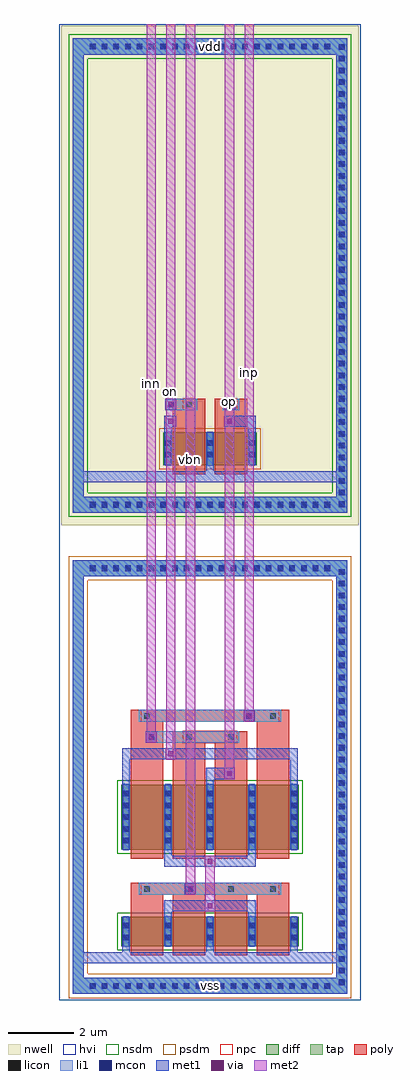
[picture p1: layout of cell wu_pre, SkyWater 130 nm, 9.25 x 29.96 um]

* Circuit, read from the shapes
.subckt wu_pre inn inp on op vbn vdd vss
XM1 n1 vbn vss vss sky130_fd_pr__nfet_g5v0d10v5 w=0.9 l=1 m=4
XM2 n1 inp on vss sky130_fd_pr__nfet_g5v0d10v5 w=2 l=1 m=2
XM3 op inn n1 vss sky130_fd_pr__nfet_g5v0d10v5 w=2 l=1 m=2
XM4 vdd on on vdd sky130_fd_pr__pfet_g5v0d10v5 w=1 l=1
XM5 op op vdd vdd sky130_fd_pr__pfet_g5v0d10v5 w=1 l=1
.ends

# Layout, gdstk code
import gdstk
lib = gdstk.Library(unit=1e-6, precision=1e-09)
def R(c, l, rs):  # rectangles x0, y0, x1, y1
    for r in rs: c.add(gdstk.rectangle(r[:2], r[2:], *l))
def A(c, l, x, y, w, h, nx, ny, dx, dy):  # array of equal rectangles
    R(c, l, [(x+i*dx, y+j*dy, x+i*dx+w, y+j*dy+h) for i in range(nx) for j in range(ny)])
nwell = (64, 20)
diff = (65, 20)
tap = (65, 44)
poly = (66, 20)
licon = (66, 44)
li1 = (67, 20)
mcon = (67, 44)
met1 = (68, 20)
via = (68, 44)
met2 = (69, 20)
hvi = (75, 20)
nsdm = (93, 44)
psdm = (94, 20)
npc = (95, 20)

wu_pre = lib.new_cell('wu_pre')
R(wu_pre, nwell, [(-4.565,14.64,4.565,29.97)])
R(wu_pre, diff, [(-2.725,1.72,2.725,2.62), (-2.725,4.68,2.725,6.68), (-1.435,16.49,1.435,17.49)])
R(wu_pre, tap, [(-4.215,0.25,4.215,0.75), (-4.215,0.25,-3.875,13.57), (3.875,0.25,4.215,13.57), (-4.215,13.07,4.215,13.57), (-4.215,15.02,4.215,15.52), (-4.215,15.02,-3.875,29.59), (3.875,15.02,4.215,29.59), (-4.215,29.09,4.215,29.59)])
A(wu_pre, poly, -2.435, 1.435, 1, 1.47, 4, 1, 1.29, 0)
A(wu_pre, poly, -2.435, 2.62, 1, 0.86, 4, 1, 1.29, 0)
A(wu_pre, poly, -2.435, 4.395, 1, 2.57, 4, 1, 1.29, 0)
R(wu_pre, poly, [(-2.435,3.3,2.435,3.66), (-2.435,6.68,-1.435,8.79), (-1.145,6.68,-0.145,8.14), (0.145,6.68,1.145,8.14), (1.435,6.68,2.435,8.79), (-1.145,7.96,1.145,8.32), (-2.435,8.61,2.435,8.97), (-1.145,16.205,-0.145,17.775), (0.145,16.205,1.145,17.775), (-1.145,17.49,-0.145,18.35), (0.145,17.49,1.145,18.35), (-1.145,18.17,-0.145,18.53), (0.145,18.17,1.145,18.53)])
A(wu_pre, licon, -3.685, 0.415, 0.17, 0.17, 21, 2, 0.36, 12.82)
A(wu_pre, licon, 3.96, 0.525, 0.17, 0.17, 1, 36, 0, 0.36)
A(wu_pre, licon, -2.665, 1.905, 0.17, 0.17, 5, 2, 1.29, 0.36)
A(wu_pre, licon, -2.02, 3.395, 0.17, 0.17, 4, 1, 1.29, 0)
A(wu_pre, licon, -2.665, 4.875, 0.17, 0.17, 5, 5, 1.29, 0.36)
A(wu_pre, licon, -3.685, 15.185, 0.17, 0.17, 21, 2, 0.36, 14.07)
A(wu_pre, licon, 3.96, 15.2, 0.17, 0.17, 1, 40, 0, 0.36)
A(wu_pre, licon, -1.375, 16.725, 0.17, 0.17, 3, 2, 1.29, 0.36)
R(wu_pre, licon, [(-0.73,8.055,-0.56,8.225), (0.56,8.055,0.73,8.225), (-2.02,8.705,-1.85,8.875), (1.85,8.705,2.02,8.875), (-0.73,18.265,-0.56,18.435), (0.56,18.265,0.73,18.435)])
A(wu_pre, li1, -2.665, 1.7, 0.17, 0.94, 5, 1, 1.29, 0)
A(wu_pre, li1, -2.665, 4.66, 0.17, 2.04, 5, 1, 1.29, 0)
A(wu_pre, li1, -1.375, 16.47, 0.17, 1.04, 3, 1, 1.29, 0)
R(wu_pre, li1, [(-4.215,0.25,4.215,0.75), (-4.215,0.25,-3.875,13.57), (3.875,0.25,4.215,13.57), (-2.185,3.3,2.185,3.66), (-1.97,7.96,0.895,8.32), (-2.185,8.61,2.185,8.97), (-4.215,13.07,4.215,13.57), (-4.215,15.02,4.215,15.52), (-4.215,15.02,-3.875,29.59), (3.875,15.02,4.215,29.59), (-1.37,18.17,-0.395,18.53), (0.395,18.17,0.895,18.53), (-4.215,29.09,4.215,29.59)])
A(wu_pre, mcon, -3.685, 0.415, 0.17, 0.17, 21, 2, 0.36, 12.82)
A(wu_pre, mcon, 3.96, 0.525, 0.17, 0.17, 1, 36, 0, 0.36)
A(wu_pre, mcon, -2.665, 1.905, 0.17, 0.17, 5, 2, 1.29, 0.36)
A(wu_pre, mcon, -2.665, 4.875, 0.17, 0.17, 5, 5, 1.29, 0.36)
A(wu_pre, mcon, -3.685, 15.185, 0.17, 0.17, 21, 2, 0.36, 14.07)
A(wu_pre, mcon, 3.96, 15.2, 0.17, 0.17, 1, 40, 0, 0.36)
A(wu_pre, mcon, -1.375, 16.725, 0.17, 0.17, 3, 2, 1.29, 0.36)
R(wu_pre, mcon, [(-0.685,3.395,-0.515,3.565), (-1.885,8.055,-1.715,8.225), (1.115,8.705,1.285,8.875), (-1.285,18.265,-1.115,18.435), (0.515,18.265,0.685,18.435)])
A(wu_pre, met1, -2.695, 1.19, 0.23, 0.53, 3, 1, 2.58, 0)
A(wu_pre, met1, -2.695, 1.72, 0.23, 0.9, 5, 1, 1.29, 0)
A(wu_pre, met1, -2.695, 4.68, 0.23, 2, 5, 1, 1.29, 0)
A(wu_pre, met1, -1.405, 16.49, 0.23, 1, 3, 1, 1.29, 0)
R(wu_pre, met1, [(-4.215,0.25,4.215,0.75), (-4.215,0.25,-3.875,13.57), (3.875,0.25,4.215,13.57), (-4.045,1.19,4.045,1.53), (-1.405,2.62,-1.175,3.13), (1.175,2.62,1.405,3.13), (-1.405,2.79,1.405,3.13), (-0.165,2.795,0.165,3.125), (-0.77,3.31,-0.43,3.65), (-1.405,4.15,-1.175,4.68), (-1.405,4.15,1.405,4.49), (1.175,4.15,1.405,4.68), (-0.165,4.155,0.165,4.485), (-2.695,6.68,-2.465,7.79), (-0.115,6.68,0.115,7.19), (2.465,6.68,2.695,7.79), (-0.115,6.85,0.765,7.19), (0.435,6.855,0.765,7.185), (-2.695,7.45,2.695,7.79), (-1.365,7.455,-1.035,7.785), (-1.97,7.97,-1.63,8.31), (1.03,8.62,1.37,8.96), (-4.215,13.07,4.215,13.57), (-4.215,15.02,4.215,15.52), (-4.215,15.02,-3.875,29.59), (3.875,15.02,4.215,29.59), (-4.045,15.96,4.045,16.3), (-0.115,15.96,0.115,16.49), (-1.405,17.49,-1.175,18), (1.175,17.49,1.405,18), (-1.405,17.66,-1.035,18), (0.435,17.66,1.405,18), (-1.365,17.665,-1.035,17.995), (0.435,17.665,0.765,17.995), (-1.37,18.18,-1.03,18.52), (0.43,18.18,0.77,18.52), (-4.215,29.09,4.215,29.59)])
R(wu_pre, via, [(-0.075,2.885,0.075,3.035), (-0.675,3.405,-0.525,3.555), (-0.075,4.245,0.075,4.395), (0.525,6.945,0.675,7.095), (-1.275,7.545,-1.125,7.695), (-1.875,8.065,-1.725,8.215), (1.125,8.715,1.275,8.865), (-1.275,17.755,-1.125,17.905), (0.525,17.755,0.675,17.905), (-1.275,18.275,-1.125,18.425), (0.525,18.275,0.675,18.425)])
R(wu_pre, met2, [(-0.14,2.78,0.14,4.5), (-0.165,2.795,0.165,3.125), (-0.74,3.3,-0.46,30.03), (-0.765,3.315,-0.435,3.645), (-0.165,4.155,0.165,4.485), (0.46,6.84,0.74,30.03), (0.435,6.855,0.765,7.185), (-1.34,7.44,-1.06,30.03), (-1.365,7.455,-1.035,7.785), (-1.94,7.96,-1.66,30.03), (-1.965,7.975,-1.635,8.305), (1.06,8.61,1.34,30.03), (1.035,8.625,1.365,8.955), (-1.365,17.665,-1.035,17.995), (0.435,17.665,0.765,17.995), (-1.365,18.185,-1.035,18.515), (0.435,18.185,0.765,18.515)])
R(wu_pre, hvi, [(-4.625,0.065,4.625,30.03)])
R(wu_pre, nsdm, [(-2.85,1.595,2.85,2.745), (-2.85,4.555,2.85,6.805), (-4.34,14.895,4.34,15.645), (-4.34,14.895,-3.75,29.715), (3.75,14.895,4.34,29.715), (-4.34,28.965,4.34,29.715)])
R(wu_pre, psdm, [(-4.34,0.125,4.34,0.875), (-4.34,0.125,-3.75,13.695), (3.75,0.125,4.34,13.695), (-4.34,12.945,4.34,13.695), (-1.56,16.365,1.56,17.615)])
R(wu_pre, npc, [(-2.12,3.295,2.12,3.665), (-0.83,7.955,0.83,8.325), (-2.12,8.605,2.12,8.975), (-0.83,18.165,-0.46,18.535), (0.46,18.165,0.83,18.535)])
wu_pre.add(gdstk.Label('vdd', (0,29.34), layer=68, texttype=5))
wu_pre.add(gdstk.Label('vss', (0,0.5), layer=68, texttype=5))
wu_pre.add(gdstk.Label('inp', (1.2,19.32), layer=69, texttype=5))
wu_pre.add(gdstk.Label('inn', (-1.8,18.995), layer=69, texttype=5))
wu_pre.add(gdstk.Label('op', (0.6,18.435), layer=69, texttype=5))
wu_pre.add(gdstk.Label('on', (-1.2,18.735), layer=69, texttype=5))
wu_pre.add(gdstk.Label('vbn', (-0.6,16.665), layer=69, texttype=5))

lib.write_gds('wu_pre.gds')
